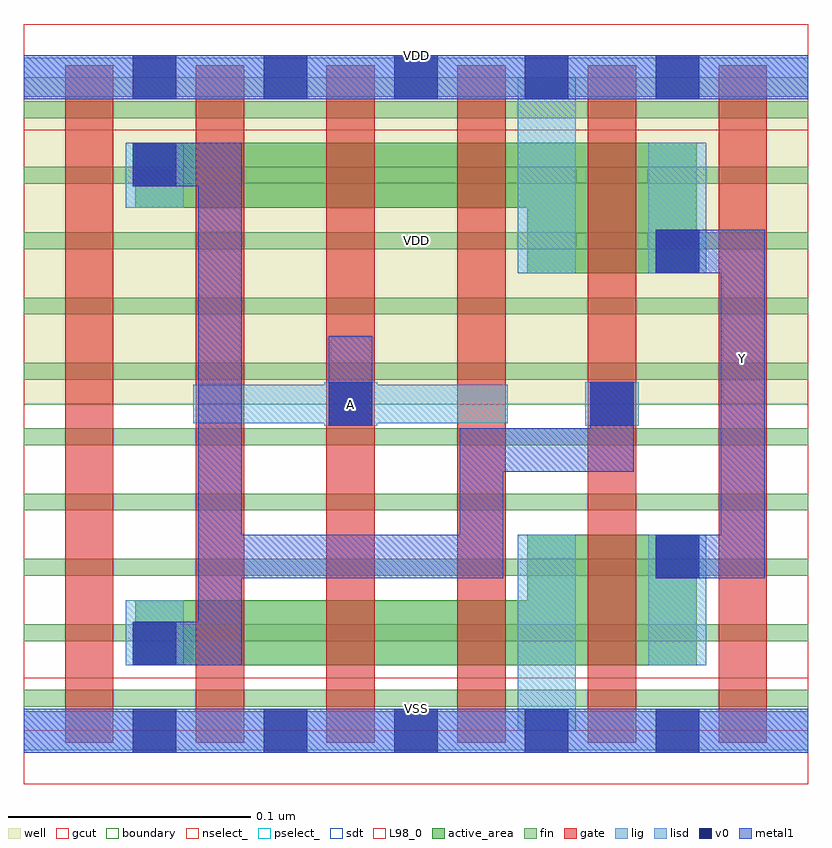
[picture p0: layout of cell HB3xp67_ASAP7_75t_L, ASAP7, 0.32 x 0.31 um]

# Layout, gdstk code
import gdstk
lib = gdstk.Library(unit=1e-6, precision=2.5e-10)
def R(c, l, rs):  # rectangles x0, y0, x1, y1
    for r in rs: c.add(gdstk.rectangle(r[:2], r[2:], *l))
def A(c, l, x, y, w, h, nx, ny, dx, dy):  # array of equal rectangles
    R(c, l, [(x+i*dx, y+j*dy, x+i*dx+w, y+j*dy+h) for i in range(nx) for j in range(ny)])
def P(c, l, *ps):  # polygons
    for p in ps: c.add(gdstk.Polygon(p, *l))
well = (1, 0)
fin = (2, 0)
gate = (7, 0)
gcut = (10, 0)
active_area = (11, 0)
nselect_ = (12, 0)
pselect_ = (13, 0)
lig = (16, 0)
lisd = (17, 0)
v0 = (18, 0)
metal1 = (19, 0)
sdt = (88, 0)
L98_0 = (98, 0)
boundary = (100, 0)

hb3xp67_asap7_75t_l = lib.new_cell('HB3xp67_ASAP7_75t_L')
R(hb3xp67_asap7_75t_l, well, [(0,0.135,0.324,0.27)])
A(hb3xp67_asap7_75t_l, fin, 0, 0.01, 0.324, 0.007, 1, 10, 0, 0.027)
A(hb3xp67_asap7_75t_l, gate, 0.017, -0.005, 0.02, 0.28, 6, 1, 0.054, 0)
R(hb3xp67_asap7_75t_l, gcut, [(0,-0.022,0.324,0.022), (0,0.248,0.324,0.292)])
P(hb3xp67_asap7_75t_l, active_area, [(0.278,0.081),(0.208,0.081),(0.208,0.054),(0.046,0.054),(0.046,0.027),(0.278,0.027)],
  [(0.046,0.216),(0.208,0.216),(0.208,0.189),(0.278,0.189),(0.278,0.243),(0.046,0.243)])
R(hb3xp67_asap7_75t_l, nselect_, [(0,0,0.324,0.135)])
R(hb3xp67_asap7_75t_l, pselect_, [(0,0.135,0.324,0.27)])
R(hb3xp67_asap7_75t_l, lig, [(0,-0.008,0.324,0.008), (0.124,0.126,0.146,0.144), (0.232,0.126,0.254,0.144), (0.07,0.127,0.2,0.143), (0,0.262,0.324,0.278)])
R(hb3xp67_asap7_75t_l, lisd, [(0.204,0,0.228,0.081), (0.204,0,0.228,0.081), (0.042,0.027,0.066,0.054), (0.258,0.027,0.282,0.081), (0.204,0.189,0.228,0.27), (0.204,0.189,0.228,0.27), (0.258,0.189,0.282,0.243), (0.042,0.216,0.066,0.243)])
A(hb3xp67_asap7_75t_l, v0, 0.045, -0.009, 0.018, 0.018, 5, 2, 0.054, 0.27)
R(hb3xp67_asap7_75t_l, v0, [(0.045,0.027,0.063,0.045), (0.261,0.063,0.279,0.081), (0.126,0.126,0.144,0.144), (0.234,0.126,0.252,0.144), (0.261,0.189,0.279,0.207), (0.045,0.225,0.063,0.243)])
R(hb3xp67_asap7_75t_l, metal1, [(0,-0.009,0.324,0.009), (0.045,0.027,0.063,0.045), (0.261,0.063,0.279,0.081), (0.126,0.126,0.144,0.144), (0.126,0.126,0.144,0.163), (0.234,0.126,0.252,0.144), (0.261,0.189,0.279,0.207), (0.045,0.225,0.063,0.243), (0,0.261,0.324,0.279)])
P(hb3xp67_asap7_75t_l, metal1, [(0.252,0.144),(0.234,0.144),(0.234,0.125),(0.18,0.125),(0.18,0.081),(0.09,0.081),(0.09,0.243),(0.045,0.243),(0.045,0.225),(0.072,0.225),(0.072,0.045),(0.045,0.045),(0.045,0.027),(0.09,0.027),(0.09,0.063),(0.198,0.063),(0.198,0.107),(0.252,0.107)],
  [(0.261,0.207),(0.261,0.189),(0.288,0.189),(0.288,0.081),(0.261,0.081),(0.261,0.063),(0.306,0.063),(0.306,0.207)])
R(hb3xp67_asap7_75t_l, sdt, [(0.042,0.027,0.066,0.054), (0.204,0.027,0.228,0.081), (0.204,0.027,0.228,0.081), (0.258,0.027,0.282,0.081), (0.204,0.189,0.228,0.243), (0.204,0.189,0.228,0.243), (0.258,0.189,0.282,0.243), (0.042,0.216,0.066,0.243)])
R(hb3xp67_asap7_75t_l, L98_0, [(0,0,0.324,0.27)])
R(hb3xp67_asap7_75t_l, boundary, [(0,0,0.324,0.27)])
hb3xp67_asap7_75t_l.add(gdstk.Label('VDD', (0.162,0.2025), layer=1, texttype=251))
hb3xp67_asap7_75t_l.add(gdstk.Label('VSS', (0.162,-0.0675), layer=3, texttype=251))
hb3xp67_asap7_75t_l.add(gdstk.Label('VSS', (0.162,0.009), layer=19, texttype=251))
hb3xp67_asap7_75t_l.add(gdstk.Label('VDD', (0.162,0.279), layer=19, texttype=251))
hb3xp67_asap7_75t_l.add(gdstk.Label('A', (0.135,0.135), layer=19, texttype=251))
hb3xp67_asap7_75t_l.add(gdstk.Label('Y', (0.297,0.154), layer=19, texttype=251))

lib.write_gds('HB3xp67_ASAP7_75t_L.gds')
